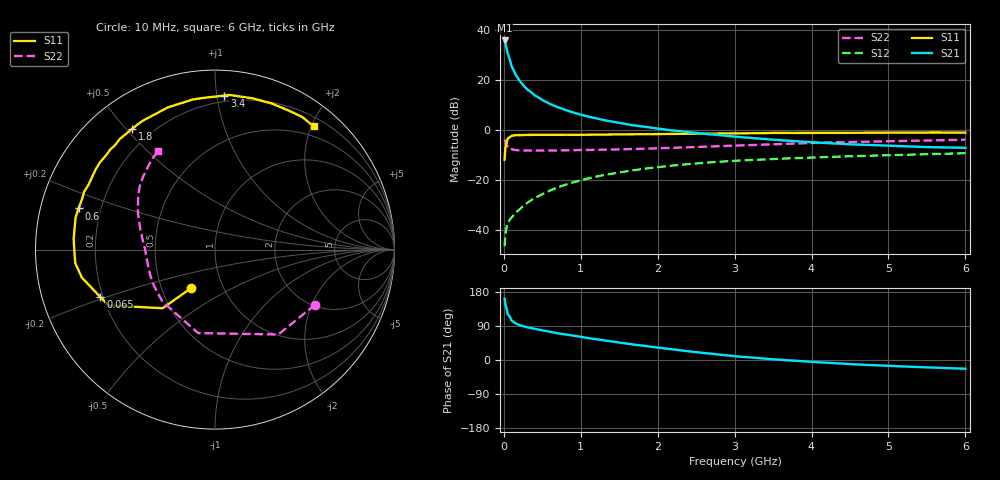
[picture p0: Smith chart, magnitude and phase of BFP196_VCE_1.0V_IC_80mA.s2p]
! Infineon Technologies  Discrete & RF Semiconductors
! BFP196
! VCE = 1.0 V,  IC =  80mA
! Common Emitter S-Parameters:  Jan 2016
# GHz  S  MA  R  50
!  f  S11  S21  S12  S22
! GHz  MAG  ANG  MAG  ANG  MAG  ANG  MAG  ANG
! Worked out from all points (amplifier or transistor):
!   210 points, 10 MHz to 6 GHz, reference 50 ohm
!   highest |S21| = 35.7 dB at 10 MHz (marker M1)
!   |S21| within 3 dB of that: start of sweep to 33.8 MHz
!   unconditionally stable (mu >= 1): 232.5 MHz to end of sweep
!   at 185 MHz: K = 0.92, MSG = 26.5 dB, |S12| = -32.3 dB
!   at 1.52 GHz: K = 1.14, MAG = 7.5 dB, |S12| = -16.9 dB
!   at 6 GHz: K = 1.05, MAG = -0.3 dB, |S12| = -9.4 dB
!   S11 on the Smith chart (normalised r, x): 10 MHz: 0.70, -0.32; 65 MHz: 0.19, -0.19; 600 MHz: 0.12, +0.15; 1.8 GHz: 0.13, +0.52; 3.4 GHz: 0.16, +1.05; 6 GHz: 0.34, +2.04
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0.01  0.2535 -121.9  61.29 161.9  0.0047 69.6  0.637 -28.8
0.02  0.4381 -131.8  53.49 146.3  0.0083 62.4  0.59 -53.3
0.05  0.6707 -152.4  33.75 120.5  0.0139 47.5  0.4744 -101.5
0.065  0.6911 -157.5  29.1 117.4  0.015 47.0  0.4402 -110.5
0.1  0.7579 -168.1  18.86 104.2  0.0175 46.1  0.412 -135.3
0.15  0.7825 -174.5  12.9 96.8  0.0217 51.8  0.3952 -149.7
0.2  0.7828 -178.9  9.775 92.1  0.0253 56.2  0.3884 -157.3
0.26  0.7872 177.3  7.533 88.5  0.0305 59.3  0.3853 -163.1
0.3  0.7897 175.5  6.517 86.3  0.0341 61.6  0.3841 -165.7
0.4  0.7918 170.4  4.927 82.0  0.0431 63.8  0.3838 -170.4
0.5  0.7971 167.0  3.945 78.3  0.0512 64.9  0.384 -173.5
0.6  0.7941 163.2  3.29 74.3  0.0609 65.3  0.3847 -175.6
0.8  0.7973 156.3  2.487 67.4  0.0795 63.9  0.3888 -179.2
1.02  0.7962 148.5  1.972 60.4  0.0995 61.7  0.3931 177.9
1.3  0.802 139.4  1.564 51.6  0.1243 57.7  0.4005 174.3
1.8  0.8162 124.4  1.167 38.1  0.1645 49.8  0.4166 168.6
2.02  0.8228 118.8  1.046 32.3  0.1806 46.1  0.4281 165.8
3.1  0.8491 92.4  0.71 8.5  0.2441 28.9  0.4888 151.4
3.4  0.8599 86.5  0.652 3.6  0.2571 24.5  0.5081 147.5
4.1  0.8683 74.5  0.553 -6.1  0.2822 15.6  0.5511 139.1
5.1  0.8772 61.3  0.476 -16.4  0.3137 4.3  0.5946 128.9
6  0.8796 51.3  0.436 -23.0  0.3399 -5.8  0.634 120.0
